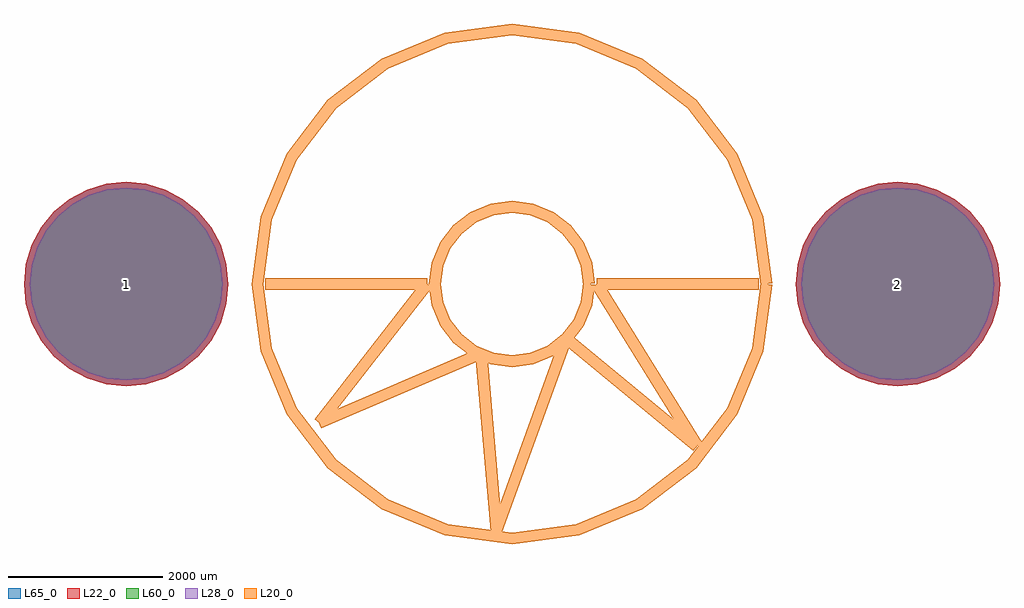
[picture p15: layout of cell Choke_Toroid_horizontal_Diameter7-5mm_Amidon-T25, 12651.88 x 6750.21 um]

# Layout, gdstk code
import gdstk
lib = gdstk.Library(unit=1e-6, precision=1e-09)
def P(c, l, *ps):  # polygons
    for p in ps: c.add(gdstk.Polygon(p, *l))
L20_0 = (20, 0)
L22_0 = (22, 0)
L28_0 = (28, 0)
L60_0 = (60, 0)
L65_0 = (65, 0)

choke_toroid_horizontal_ = lib.new_cell('Choke_Toroid_horizontal_Diameter7-5mm_Amidon-T25')
P(choke_toroid_horizontal_, L22_0, [(6325.94,0),(6300.487,258.432),(6225.105,506.933),(6102.691,735.953),(5937.95,936.69),(5737.213,1101.431),(5508.193,1223.845),(5259.692,1299.227),(5001.26,1324.68),(4742.828,1299.227),(4494.327,1223.845),(4265.307,1101.431),(4064.57,936.69),(3899.829,735.953),(3777.415,506.933),(3702.033,258.432),(3676.58,0),(3702.033,-258.432),(3777.415,-506.933),(3899.829,-735.953),(4064.57,-936.69),(4265.307,-1101.431),(4494.327,-1223.845),(4742.828,-1299.227),(5001.26,-1324.68),(5259.692,-1299.227),(5508.193,-1223.845),(5737.213,-1101.431),(5937.95,-936.69),(6102.691,-735.953),(6225.105,-506.933),(6300.487,-258.432)],
  [(-3676.58,0),(-3702.033,258.432),(-3777.415,506.933),(-3899.829,735.953),(-4064.57,936.69),(-4265.307,1101.431),(-4494.327,1223.845),(-4742.828,1299.227),(-5001.26,1324.68),(-5259.692,1299.227),(-5508.193,1223.845),(-5737.213,1101.431),(-5937.95,936.69),(-6102.691,735.953),(-6225.105,506.933),(-6300.487,258.432),(-6325.94,0),(-6300.487,-258.432),(-6225.105,-506.933),(-6102.691,-735.953),(-5937.95,-936.69),(-5737.213,-1101.431),(-5508.193,-1223.845),(-5259.692,-1299.227),(-5001.26,-1324.68),(-4742.828,-1299.227),(-4494.327,-1223.845),(-4265.307,-1101.431),(-4064.57,-936.69),(-3899.829,-735.953),(-3777.415,-506.933),(-3702.033,-258.432)])
P(choke_toroid_horizontal_, L28_0, [(6250.94,0),(6226.928,243.8),(6155.814,478.232),(6040.331,694.285),(5884.917,883.657),(5695.545,1039.071),(5479.492,1154.554),(5245.06,1225.668),(5001.26,1249.68),(4757.46,1225.668),(4523.028,1154.554),(4306.975,1039.071),(4117.603,883.657),(3962.189,694.285),(3846.706,478.232),(3775.592,243.8),(3751.58,0),(3775.592,-243.8),(3846.706,-478.232),(3962.189,-694.285),(4117.603,-883.657),(4306.975,-1039.071),(4523.028,-1154.554),(4757.46,-1225.668),(5001.26,-1249.68),(5245.06,-1225.668),(5479.492,-1154.554),(5695.545,-1039.071),(5884.917,-883.657),(6040.331,-694.285),(6155.814,-478.232),(6226.928,-243.8)],
  [(-3751.58,0),(-3775.592,243.8),(-3846.706,478.232),(-3962.189,694.285),(-4117.603,883.657),(-4306.975,1039.071),(-4523.028,1154.554),(-4757.46,1225.668),(-5001.26,1249.68),(-5245.06,1225.668),(-5479.492,1154.554),(-5695.545,1039.071),(-5884.917,883.657),(-6040.331,694.285),(-6155.814,478.232),(-6226.928,243.8),(-6250.94,0),(-6226.928,-243.8),(-6155.814,-478.232),(-6040.331,-694.285),(-5884.917,-883.657),(-5695.545,-1039.071),(-5479.492,-1154.554),(-5245.06,-1225.668),(-5001.26,-1249.68),(-4757.46,-1225.668),(-4523.028,-1154.554),(-4306.975,-1039.071),(-4117.603,-883.657),(-3962.189,-694.285),(-3846.706,-478.232),(-3775.592,-243.8)])
P(choke_toroid_horizontal_, L60_0, [(6250.94,0),(6226.928,243.8),(6155.814,478.232),(6040.331,694.285),(5884.917,883.657),(5695.545,1039.071),(5479.492,1154.554),(5245.06,1225.668),(5001.26,1249.68),(4757.46,1225.668),(4523.028,1154.554),(4306.975,1039.071),(4117.603,883.657),(3962.189,694.285),(3846.706,478.232),(3775.592,243.8),(3751.58,0),(3775.592,-243.8),(3846.706,-478.232),(3962.189,-694.285),(4117.603,-883.657),(4306.975,-1039.071),(4523.028,-1154.554),(4757.46,-1225.668),(5001.26,-1249.68),(5245.06,-1225.668),(5479.492,-1154.554),(5695.545,-1039.071),(5884.917,-883.657),(6040.331,-694.285),(6155.814,-478.232),(6226.928,-243.8)],
  [(-3751.58,0),(-3775.592,243.8),(-3846.706,478.232),(-3962.189,694.285),(-4117.603,883.657),(-4306.975,1039.071),(-4523.028,1154.554),(-4757.46,1225.668),(-5001.26,1249.68),(-5245.06,1225.668),(-5479.492,1154.554),(-5695.545,1039.071),(-5884.917,883.657),(-6040.331,694.285),(-6155.814,478.232),(-6226.928,243.8),(-6250.94,0),(-6226.928,-243.8),(-6155.814,-478.232),(-6040.331,-694.285),(-5884.917,-883.657),(-5695.545,-1039.071),(-5479.492,-1154.554),(-5245.06,-1225.668),(-5001.26,-1249.68),(-4757.46,-1225.668),(-4523.028,-1154.554),(-4306.975,-1039.071),(-4117.603,-883.657),(-3962.189,-694.285),(-3846.706,-478.232),(-3775.592,-243.8)])
P(choke_toroid_horizontal_, L65_0, [(6325.94,0),(6300.487,258.432),(6225.105,506.933),(6102.691,735.953),(5937.95,936.69),(5737.213,1101.431),(5508.193,1223.845),(5259.692,1299.227),(5001.26,1324.68),(4742.828,1299.227),(4494.327,1223.845),(4265.307,1101.431),(4064.57,936.69),(3899.829,735.953),(3777.415,506.933),(3702.033,258.432),(3676.58,0),(3702.033,-258.432),(3777.415,-506.933),(3899.829,-735.953),(4064.57,-936.69),(4265.307,-1101.431),(4494.327,-1223.845),(4742.828,-1299.227),(5001.26,-1324.68),(5259.692,-1299.227),(5508.193,-1223.845),(5737.213,-1101.431),(5937.95,-936.69),(6102.691,-735.953),(6225.105,-506.933),(6300.487,-258.432)],
  [(-3676.58,0),(-3702.033,258.432),(-3777.415,506.933),(-3899.829,735.953),(-4064.57,936.69),(-4265.307,1101.431),(-4494.327,1223.845),(-4742.828,1299.227),(-5001.26,1324.68),(-5259.692,1299.227),(-5508.193,1223.845),(-5737.213,1101.431),(-5937.95,936.69),(-6102.691,735.953),(-6225.105,506.933),(-6300.487,258.432),(-6325.94,0),(-6300.487,-258.432),(-6225.105,-506.933),(-6102.691,-735.953),(-5937.95,-936.69),(-5737.213,-1101.431),(-5508.193,-1223.845),(-5259.692,-1299.227),(-5001.26,-1324.68),(-4742.828,-1299.227),(-4494.327,-1223.845),(-4265.307,-1101.431),(-4064.57,-936.69),(-3899.829,-735.953),(-3777.415,-506.933),(-3702.033,-258.432)])
choke_toroid_horizontal_.add(gdstk.FlexPath([(3299.46,0),(3187.034,853.963),(2857.416,1649.73),(2333.071,2333.071),(1649.73,2857.416),(853.963,3187.034),(0,3299.46),(-853.963,3187.034),(-1649.73,2857.416),(-2333.071,2333.071),(-2857.416,1649.73),(-3187.034,853.963),(-3299.46,0),(-3187.034,-853.963),(-2857.416,-1649.73),(-2333.071,-2333.071),(-1649.73,-2857.416),(-853.963,-3187.034),(0,-3299.46),(853.963,-3187.034),(1649.73,-2857.416),(2333.071,-2333.071),(2857.416,-1649.73),(3187.034,-853.963),(3299.46,0)], 149.998, ends="flush", simple_path=True, layer=20, datatype=0))  # L20_0
choke_toroid_horizontal_.add(gdstk.FlexPath([(1000.76,0),(966.66,259.016),(866.684,500.38),(707.644,707.644),(500.38,866.684),(259.016,966.66),(0,1000.76),(-259.016,966.66),(-500.38,866.684),(-707.644,707.644),(-866.684,500.38),(-966.66,259.016),(-1000.76,0),(-966.66,-259.016),(-866.684,-500.38),(-707.644,-707.644),(-500.38,-866.684),(-259.016,-966.66),(0,-1000.76),(259.016,-966.66),(500.38,-866.684),(707.644,-707.644),(866.684,-500.38),(966.66,-259.016),(1000.76,0)], 149.998, ends="flush", simple_path=True, layer=20, datatype=0))  # L20_0
choke_toroid_horizontal_.add(gdstk.FlexPath([(1099.82,0),(3200.4,0)], 149.998, ends="flush", simple_path=True, layer=20, datatype=0))  # L20_0
choke_toroid_horizontal_.add(gdstk.FlexPath([(2400.3,-2100.58),(1099.82,0)], 149.998, ends="flush", simple_path=True, layer=20, datatype=0))  # L20_0
choke_toroid_horizontal_.add(gdstk.FlexPath([(701.04,-701.04),(2400.3,-2100.58)], 149.998, ends="flush", simple_path=True, layer=20, datatype=0))  # L20_0
choke_toroid_horizontal_.add(gdstk.FlexPath([(-200.66,-3200.4),(701.04,-701.04)], 149.998, ends="flush", simple_path=True, layer=20, datatype=0))  # L20_0
choke_toroid_horizontal_.add(gdstk.FlexPath([(-398.78,-899.16),(-200.66,-3200.4)], 149.998, ends="flush", simple_path=True, layer=20, datatype=0))  # L20_0
choke_toroid_horizontal_.add(gdstk.FlexPath([(-2499.36,-1800.86),(-398.78,-899.16)], 149.998, ends="flush", simple_path=True, layer=20, datatype=0))  # L20_0
choke_toroid_horizontal_.add(gdstk.FlexPath([(-1099.82,0),(-2499.36,-1800.86)], 149.998, ends="flush", simple_path=True, layer=20, datatype=0))  # L20_0
choke_toroid_horizontal_.add(gdstk.FlexPath([(-3200.4,0),(-1099.82,0)], 149.998, ends="flush", simple_path=True, layer=20, datatype=0))  # L20_0
choke_toroid_horizontal_.add(gdstk.Label('2', (5001.26,0), layer=28, texttype=0))
choke_toroid_horizontal_.add(gdstk.Label('1', (-5001.26,0), layer=28, texttype=0))
choke_toroid_horizontal_.add(gdstk.Label('Start', (-8600.44,2900.68), layer=9, texttype=0))
choke_toroid_horizontal_.add(gdstk.Label('End', (8199.12,2900.68), layer=9, texttype=0))
choke_toroid_horizontal_.add(gdstk.Label('type', (0,-5080), layer=9, texttype=0))
choke_toroid_horizontal_.add(gdstk.Label('devicename', (0,5080), layer=9, texttype=0))

lib.write_gds('Choke_Toroid_horizontal_Diameter7-5mm_Amidon-T25.gds')
